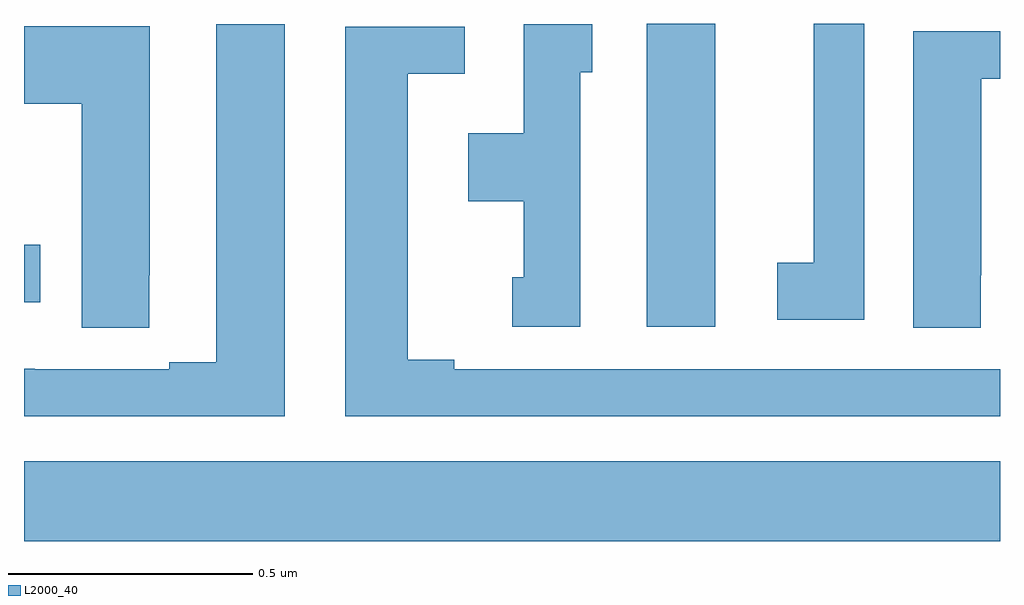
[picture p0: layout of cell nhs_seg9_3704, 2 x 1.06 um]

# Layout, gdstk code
import gdstk
lib = gdstk.Library(unit=1e-6, precision=1e-09)
def R(c, l, rs):  # rectangles x0, y0, x1, y1
    for r in rs: c.add(gdstk.rectangle(r[:2], r[2:], *l))
def P(c, l, *ps):  # polygons
    for p in ps: c.add(gdstk.Polygon(p, *l))
L2000_40 = (2000, 40)

nhs_seg9_3704 = lib.new_cell('nhs_seg9_3704')
R(nhs_seg9_3704, L2000_40, [(157,1176.44,159,1176.604), (158.276,1176.879,158.416,1177.5), (157,1176.93,157.033,1177.047)])
P(nhs_seg9_3704, L2000_40, [(158.722,1177.5),(158.618,1177.5),(158.618,1177.01),(158.544,1177.01),(158.544,1176.894),(158.722,1176.894)],
  [(158.14,1177.401),(158.164,1177.401),(158.164,1177.499),(158.024,1177.499),(158.024,1177.276),(157.91,1177.276),(157.91,1177.136),(158.024,1177.136),(158.024,1176.981),(158,1176.981),(158,1176.879),(158.14,1176.879)],
  [(157.534,1177.499),(157.394,1177.499),(157.394,1176.807),(157.298,1176.807),(157.298,1176.792),(157.022,1176.792),(157.022,1176.793),(157,1176.793),(157,1176.696),(157.534,1176.696)],
  [(157.257,1176.985),(157.258,1176.985),(157.258,1177.495),(157,1177.495),(157,1177.336),(157.118,1177.336),(157.118,1176.877),(157.257,1176.877)],
  [(159,1176.792),(157.882,1176.792),(157.882,1176.812),(157.786,1176.812),(157.786,1177.398),(157.903,1177.398),(157.903,1177.494),(157.658,1177.494),(157.658,1176.696),(159,1176.696)],
  [(158.961,1176.985),(158.962,1176.985),(158.962,1177.388),(159,1177.388),(159,1177.485),(158.822,1177.485),(158.822,1176.877),(158.961,1176.877)])

lib.write_gds('nhs_seg9_3704.gds')
